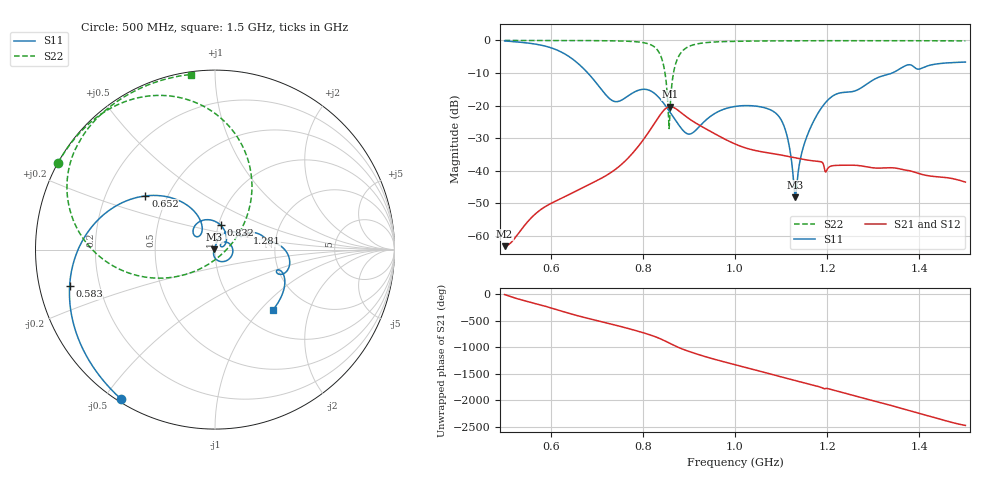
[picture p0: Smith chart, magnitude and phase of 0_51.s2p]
! TOUCHSTONE file generated by CST MICROWAVE STUDIO
! Date and time: Sat Oct 24 11:18:52 2020
! Project name: Scenario_1_Circular_Tissue_in_Line.cst
! Parameters = {L_HA=400; MT=2.54; Rad_Dielectric=30; Rad_Lower=7.3; Rad_Upper=30; a_HA=580; a_WG=246; b_HA=500; b_WG=121; c_HA=0; c_WG=187; d_feed=85; dx1=1039; h_feed=15; h_lower=18; h_upper=40}
! Header version: 2018
! Port assignment regex: !\s*Touchstone port\s*([0-9]+)\s*=\s*(CST MWS port|CST DS port)\s*([0-9]+|Zmin|Zmax)\s*\(\"(.*)\"\)(\s*mode\s*([0-9]+))?.*
! Touchstone port assignment:
! Touchstone port 1 = CST MWS port 1 ("")
! Touchstone port 2 = CST MWS port 2 ("")
# GHz S DB R 50
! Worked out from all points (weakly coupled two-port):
!   1003 points, 500 MHz to 1.5 GHz, reference 50 ohm
!   highest |S21| = -20.32 dB at 860 MHz (marker M1); lowest = -63.1 dB at 500 MHz (marker M2)
!   lowest |S11| = -48.2 dB at 1.131 GHz (marker M3), VSWR 1.01, Z = 49.6 + j0.162 ohm
!   |S11| at or under -10 dB: 680.6 MHz to 1.341 GHz (660.5 MHz wide, 65.3 % of centre)
!   |S22| runs from -27.0 to 0.0 dB; largest |S21 - S12| = 8.6e-05
!   S11 on the Smith chart (normalised r, x): 500 MHz: 0.01, -0.55; 583 MHz: 0.09, -0.12; 652 MHz: 0.38, +0.30; 832 MHz: 1.03, +0.28; 1.281 GHz: 1.41, +0.27; 1.5 GHz: 1.38, -1.18
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0.5  -0.15 -122.2  -63.14 -2.6  -63.14 -2.7  -0.01 151.1
0.583  -1.57 -166.0  -51.47 149.0  -51.47 149.0  -0.02 145.4
0.652  -6.21 142.3  -46.42 -27.3  -46.42 -27.3  -0.03 139.8
0.667  -8.05 132.0  -45.35 -62.2  -45.35 -62.2  -0.04 138.3
0.736  -18.62 130.9  -40.04 149.0  -40.04 149.0  -0.12 129.9
0.795  -15.11 127.5  -31.61 11.2  -31.61 11.2  -0.55 114.8
0.832  -17.11 76.8  -24.01 -96.5  -24.01 -96.5  -3.00 85.0
0.834  -17.40 73.7  -23.59 -103.6  -23.59 -103.6  -3.41 82.0
0.846  -19.44 55.3  -21.37 -150.4  -21.37 -150.4  -8.31 57.7
0.855  -21.20 42.4  -20.44 170.5  -20.44 170.5  -21.70 12.3
0.86  -22.22 36.0  -20.32 148.3  -20.32 148.3  -18.61 -123.5
0.869  -24.10 26.6  -20.73 110.0  -20.73 110.0  -8.30 -155.8
0.888  -27.74 21.9  -22.73 40.6  -22.73 40.6  -2.95 177.5
1  -20.26 5.7  -31.78 112.4  -31.78 112.4  -0.27 140.2
1.095  -23.28 -70.1  -35.04 -106.6  -35.04 -106.6  -0.13 130.1
1.114  -29.91 -102.9  -35.55 -149.6  -35.55 -149.6  -0.12 128.5
1.131  -48.17 155.3  -36.03 172.7  -36.03 172.7  -0.11 127.0
1.167  -25.81 75.9  -36.91 92.2  -36.91 92.2  -0.10 124.2
1.21  -17.26 47.5  -38.51 0.3  -38.50 0.2  -0.09 120.8
1.281  -13.89 27.1  -38.67 -166.2  -38.67 -166.2  -0.08 115.5
1.334  -10.35 9.2  -39.07 72.7  -39.07 72.7  -0.09 111.4
1.5  -6.63 -45.8  -43.47 44.0  -43.47 44.0  -0.13 97.9
